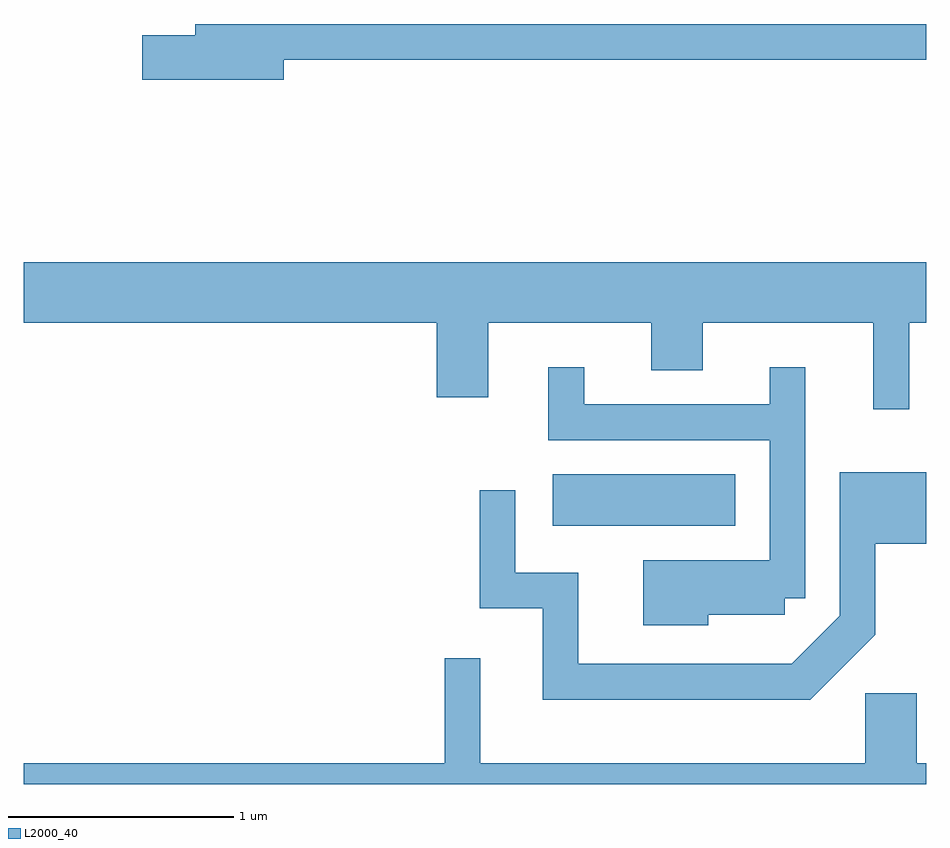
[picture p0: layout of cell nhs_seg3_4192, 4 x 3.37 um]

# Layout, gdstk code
import gdstk
lib = gdstk.Library(unit=1e-6, precision=1e-09)
def R(c, l, rs):  # rectangles x0, y0, x1, y1
    for r in rs: c.add(gdstk.rectangle(r[:2], r[2:], *l))
def P(c, l, *ps):  # polygons
    for p in ps: c.add(gdstk.Polygon(p, *l))
L2000_40 = (2000, 40)

nhs_seg3_4192 = lib.new_cell('nhs_seg3_4192')
R(nhs_seg3_4192, L2000_40, [(309.956,1205.036,310.764,1205.264)])
P(nhs_seg3_4192, L2000_40, [(308.764,1207.101),(311.611,1207.101),(311.611,1207.259),(308.371,1207.259),(308.371,1207.209),(308.136,1207.209),(308.136,1207.011),(308.764,1207.011)],
  [(311.534,1205.936),(311.611,1205.936),(311.611,1206.204),(307.611,1206.204),(307.611,1205.936),(309.441,1205.936),(309.441,1205.606),(309.669,1205.606),(309.669,1205.936),(310.391,1205.936),(310.391,1205.726),(310.619,1205.726),(310.619,1205.936),(311.376,1205.936),(311.376,1205.553),(311.534,1205.553)],
  [(310.644,1204.641),(310.984,1204.641),(310.984,1204.716),(311.074,1204.716),(311.074,1205.738),(310.916,1205.738),(310.916,1205.574),(310.094,1205.574),(310.094,1205.738),(309.936,1205.738),(309.936,1205.416),(310.916,1205.416),(310.916,1204.884),(310.356,1204.884),(310.356,1204.596),(310.644,1204.596)],
  [(311.384,1204.554),(311.384,1204.956),(311.611,1204.956),(311.611,1205.274),(311.226,1205.274),(311.226,1204.637),(311.014,1204.424),(310.069,1204.424),(310.069,1204.829),(309.789,1204.829),(309.789,1205.193),(309.631,1205.193),(309.631,1204.671),(309.911,1204.671),(309.911,1204.266),(311.097,1204.266)],
  [(311.611,1203.984),(311.569,1203.984),(311.569,1204.294),(311.341,1204.294),(311.341,1203.984),(309.634,1203.984),(309.634,1204.448),(309.476,1204.448),(309.476,1203.984),(307.611,1203.984),(307.611,1203.892),(311.611,1203.892)])

lib.write_gds('nhs_seg3_4192.gds')
